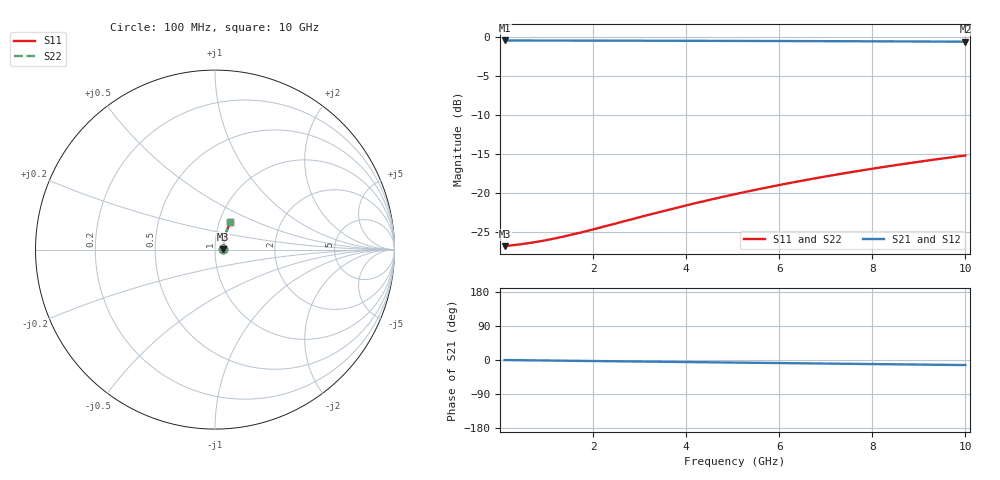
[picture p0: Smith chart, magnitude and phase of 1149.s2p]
# Hz S RI R 50.00
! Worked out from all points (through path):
!   100 points, 100 MHz to 10 GHz, reference 50 ohm
!   highest |S21| = -0.41 dB at 100 MHz (marker M1); lowest = -0.6 dB at 10 GHz (marker M2)
!   group delay of S21, straight-line fit = 3.72 ps
!   lowest |S11| = -26.8 dB at 100 MHz (marker M3), VSWR 1.10, Z = 54.8 + j0.177 ohm
!   |S11| at or under -10 dB: start of sweep to end of sweep
!   |S22| runs from -26.8 to -15.1 dB; largest |S21 - S12| = 0
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1e8  0.0459 0.00161  0.9541 -0.00225  0.9541 -0.00225  0.0459 0.00161
5e8  0.0468 0.00804  0.9532 -0.0112  0.9532 -0.0112  0.0468 0.00804
7e8  0.0471 0.0112  0.9528 -0.0157  0.9528 -0.0157  0.0471 0.0112
9e8  0.0475 0.0144  0.9525 -0.0202  0.9525 -0.0202  0.0475 0.0144
1.1e9  0.0478 0.0176  0.9522 -0.0247  0.9522 -0.0247  0.0478 0.0176
1.3e9  0.0481 0.0208  0.9519 -0.0292  0.9519 -0.0292  0.0481 0.0208
1.5e9  0.0484 0.024  0.9515 -0.0337  0.9515 -0.0337  0.0484 0.024
1.8e9  0.049 0.0288  0.9509 -0.0404  0.9509 -0.0404  0.049 0.0288
2.2e9  0.0498 0.0352  0.9501 -0.0493  0.9501 -0.0493  0.0498 0.0352
3.4e9  0.0528 0.0541  0.947 -0.076  0.947 -0.076  0.0528 0.0541
3.9e9  0.0543 0.062  0.9454 -0.087  0.9454 -0.087  0.0543 0.062
4.3e9  0.0556 0.0682  0.944 -0.0958  0.944 -0.0958  0.0556 0.0682
4.7e9  0.0571 0.0744  0.9424 -0.1046  0.9424 -0.1046  0.0571 0.0744
5.1e9  0.0586 0.0806  0.9408 -0.1133  0.9408 -0.1133  0.0586 0.0806
5.5e9  0.0603 0.0867  0.9391 -0.122  0.9391 -0.122  0.0603 0.0867
5.9e9  0.062 0.0928  0.9372 -0.1307  0.9372 -0.1307  0.062 0.0928
6.3e9  0.0639 0.0988  0.9352 -0.1393  0.9352 -0.1393  0.0639 0.0988
6.7e9  0.0659 0.1048  0.9331 -0.1479  0.9331 -0.1479  0.0659 0.1048
7.5e9  0.0702 0.1167  0.9286 -0.1649  0.9286 -0.1649  0.0702 0.1167
8.4e9  0.0755 0.1298  0.9229 -0.1838  0.9229 -0.1838  0.0755 0.1298
9.2e9  0.0807 0.1412  0.9175 -0.2003  0.9175 -0.2003  0.0807 0.1412
1e10  0.0862 0.1523  0.9116 -0.2166  0.9116 -0.2166  0.0862 0.1523
